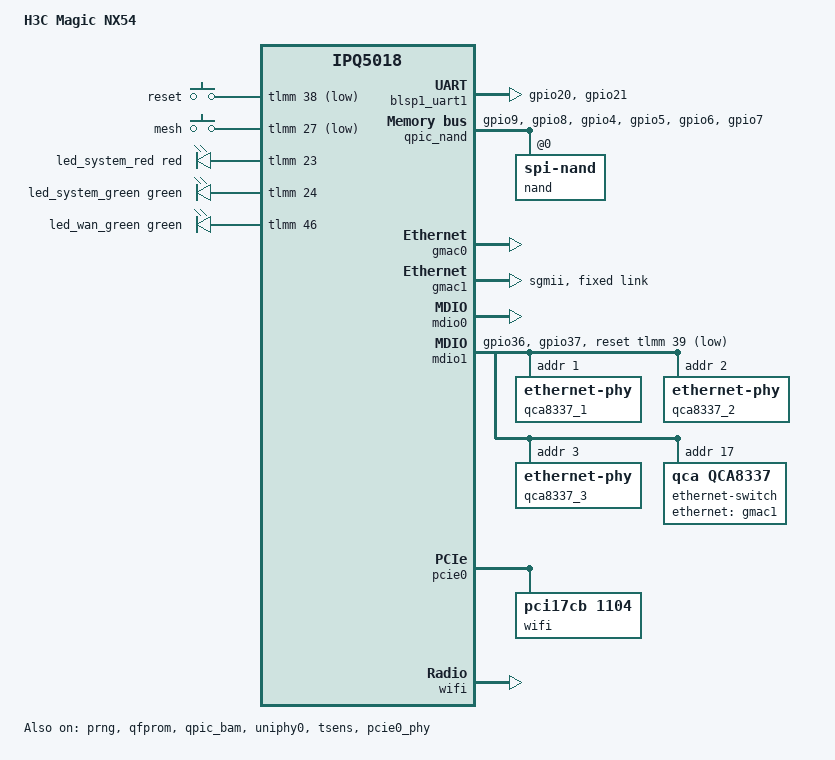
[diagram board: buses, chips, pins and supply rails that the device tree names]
// SPDX-License-Identifier: GPL-2.0-or-later OR MIT

/dts-v1/;

#include "ipq5018.dtsi"
#include "ipq5018-ess.dtsi"
#include "ipq5018-nss.dtsi"
#include "ipq5018-qcn6122.dtsi"

#include <dt-bindings/gpio/gpio.h>
#include <dt-bindings/input/input.h>
#include <dt-bindings/leds/common.h>

/ {
	model = "H3C Magic NX54";
	compatible = "h3c,nx54", "qcom,ipq5018";

	aliases {
		led-boot = &led_system_green;
		led-failsafe = &led_system_red;
		led-running = &led_system_green;
		led-upgrade = &led_system_red;
		serial0 = &blsp1_uart1;
	};

	chosen {
		/* Stock U-Boot boots the "kernel" volume of the UBI on "rootfs";
		 * OpenWrt's UbiFit puts the squashfs in volume 1.
		 */
		bootargs-append = " root=/dev/ubiblock0_1 coherent_pool=2M";
		stdout-path = "serial0:115200n8";
	};

	keys {
		compatible = "gpio-keys";

		pinctrl-0 = <&button_pins>;
		pinctrl-names = "default";

		reset-button {
			label = "reset";
			gpios = <&tlmm 38 GPIO_ACTIVE_LOW>;
			linux,code = <KEY_RESTART>;
		};

		/* Front "Mesh" pairing button */
		wps-button {
			label = "mesh";
			gpios = <&tlmm 27 GPIO_ACTIVE_LOW>;
			linux,code = <KEY_WPS_BUTTON>;
		};
	};

	leds {
		compatible = "gpio-leds";

		pinctrl-0 = <&leds_pins>;
		pinctrl-names = "default";

		led_system_red: system-red {
			color = <LED_COLOR_ID_RED>;
			function = LED_FUNCTION_STATUS;
			gpios = <&tlmm 23 GPIO_ACTIVE_HIGH>;
		};

		led_system_green: system-green {
			color = <LED_COLOR_ID_GREEN>;
			function = LED_FUNCTION_STATUS;
			gpios = <&tlmm 24 GPIO_ACTIVE_HIGH>;
		};

		led_wan_green: wan-green {
			color = <LED_COLOR_ID_GREEN>;
			function = LED_FUNCTION_WAN;
			gpios = <&tlmm 46 GPIO_ACTIVE_HIGH>;
		};
	};
};

&sleep_clk {
	clock-frequency = <32000>;
};

&xo_board_clk {
	clock-div = <4>;
	clock-mult = <1>;
};

&blsp1_uart1 {
	status = "okay";

	pinctrl-0 = <&serial_0_pins>;
	pinctrl-names = "default";
};

&prng {
	status = "okay";
};

&qfprom {
	status = "okay";
};

&qpic_bam {
	status = "okay";
};

/*
 * 128 MiB SPI-NAND. The layout comes from the SMEM partition table that
 * the stock boot chain provides (stock "rootfs" UBI: 0x900000 + 0x2d40000).
 */
&qpic_nand {
	pinctrl-0 = <&qpic_pins>;
	pinctrl-names = "default";
	status = "okay";

	nand@0 {
		compatible = "spi-nand";
		reg = <0>;

		nand-ecc-engine = <&qpic_nand>;
		nand-ecc-step-size = <512>;
		nand-ecc-strength = <4>;
		nand-bus-width = <8>;

		partitions {
			compatible = "qcom,smem-part";
		};
	};
};

/*
 * =================================================================
 *     _______________________             _______________________
 *    |        IPQ5018        |           |        QCA8337        |
 *    | +------+   +--------+ |           | +--------+   +------+ |
 *    | | MAC0 |---| GE Phy |-+--> WAN    | | Phy1-3 |---| LAN  | |
 *    | +------+   +--------+ |   (RJ45)  | +--------+   +------+ |
 *    | +------+   +--------+ |           | +--------+   +------+ |
 *    | | MAC1 |---| Uniphy |-+-- SGMII---+ | SerDes |---| MAC6 | |
 *    | +------+   +--------+ |           | +--------+   +------+ |
 *    |_______________________|           |_______________________|
 *
 * Unlike most IPQ5018 + QCA8337 boards (Redmi AX5400, PZ-L8, MR3000D-CI)
 * the internal GE PHY is wired straight to the WAN jack, so it must keep
 * the default long-cable DAC setting. QCA8337 PHY0 and PHY4 are unused.
 * =================================================================
 */

&uniphy0 {
	status = "okay";

	assigned-clocks = <&uniphy0 UNIPHY_CLK_REF>;
	assigned-clock-rates = <UNIPHY_REFCLK_25MHZ>;
};

// MAC0 -> GE Phy -> WAN
&gmac0 {
	status = "okay";

	label = "wan";
};

// MAC1 ---SGMII---> QCA8337 SerDes
&gmac1 {
	status = "okay";

	phy-mode = "sgmii";

	fixed-link {
		speed = <1000>;
		full-duplex;
	};
};

&mdio0 {
	status = "okay";
};

&mdio1 {
	status = "okay";

	pinctrl-0 = <&mdio1_pins>;
	pinctrl-names = "default";
	reset-gpios = <&tlmm 39 GPIO_ACTIVE_LOW>;

	// QCA8337 Phy1 -> LAN3
	qca8337_1: ethernet-phy@1 {
		reg = <1>;
	};

	// QCA8337 Phy2 -> LAN1
	qca8337_2: ethernet-phy@2 {
		reg = <2>;
	};

	// QCA8337 Phy3 -> LAN2
	qca8337_3: ethernet-phy@3 {
		reg = <3>;
	};

	// QCA8337 switch
	ethernet-switch@11 {
		compatible = "qca,qca8337";
		reg = <0x11>;

		ethernet-ports {
			#address-cells = <1>;
			#size-cells = <0>;

			ethernet-port@2 {
				reg = <2>;
				label = "lan3";
				phy-handle = <&qca8337_1>;
			};

			ethernet-port@3 {
				reg = <3>;
				label = "lan1";
				phy-handle = <&qca8337_2>;
			};

			ethernet-port@4 {
				reg = <4>;
				label = "lan2";
				phy-handle = <&qca8337_3>;
			};

			ethernet-port@6 {
				reg = <6>;
				phy-mode = "sgmii";
				ethernet = <&gmac1>;
				qca,sgmii-enable-pll;

				fixed-link {
					speed = <1000>;
					full-duplex;
				};
			};
		};
	};
};

&tlmm {
	button_pins: button-state {
		pins = "gpio27", "gpio38";
		function = "gpio";
		drive-strength = <8>;
		bias-pull-up;
	};

	leds_pins: leds-state {
		pins = "gpio23", "gpio24", "gpio46";
		function = "gpio";
		drive-strength = <8>;
		bias-pull-down;
	};

	mdio1_pins: mdio-state {
		mdc-pins {
			pins = "gpio36";
			function = "mdc";
			drive-strength = <8>;
			bias-pull-up;
		};

		mdio-pins {
			pins = "gpio37";
			function = "mdio";
			drive-strength = <8>;
			bias-pull-up;
		};
	};

	qpic_pins: qpic-state {
		clock-pins {
			pins = "gpio9";
			function = "qspi_clk";
			drive-strength = <8>;
			bias-disable;
		};

		cs-pins {
			pins = "gpio8";
			function = "qspi_cs";
			drive-strength = <8>;
			bias-disable;
		};

		data-pins {
			pins = "gpio4", "gpio5", "gpio6", "gpio7";
			function = "qspi_data";
			drive-strength = <8>;
			bias-disable;
		};
	};

	serial_0_pins: uart0-state {
		pins = "gpio20", "gpio21";
		function = "blsp0_uart0";
		bias-disable;
	};
};

&tsens {
	status = "okay";
};

&pcie0_phy {
	status = "okay";
};

&pcie0 {
	status = "okay";

	perst-gpios = <&tlmm 15 GPIO_ACTIVE_LOW>;

	pcie@0 {
		wifi@0,0 {
			status = "okay";

			/* QCN9074: ath11k lacks DT compatible for PCI cards */
			compatible = "pci17cb,1104";
			reg = <0x00010000 0 0 0 0>;

			qcom,ath11k-calibration-variant = "H3C_NX54-QCN9000";
		};
	};
};

&wifi {
	status = "okay";

	qcom,rproc = <&q6v5_wcss>;
	qcom,ath11k-calibration-variant = "H3C_NX54-IPQ5018";
	/* no QCN6122 on this board: the multi-PD WLAN.HK.2.7.0.1 image with only user PD 1 started, see ipq5018-qcn6122.dtsi */
	qcom,ath11k-fw-memory-mode = <1>;
};
